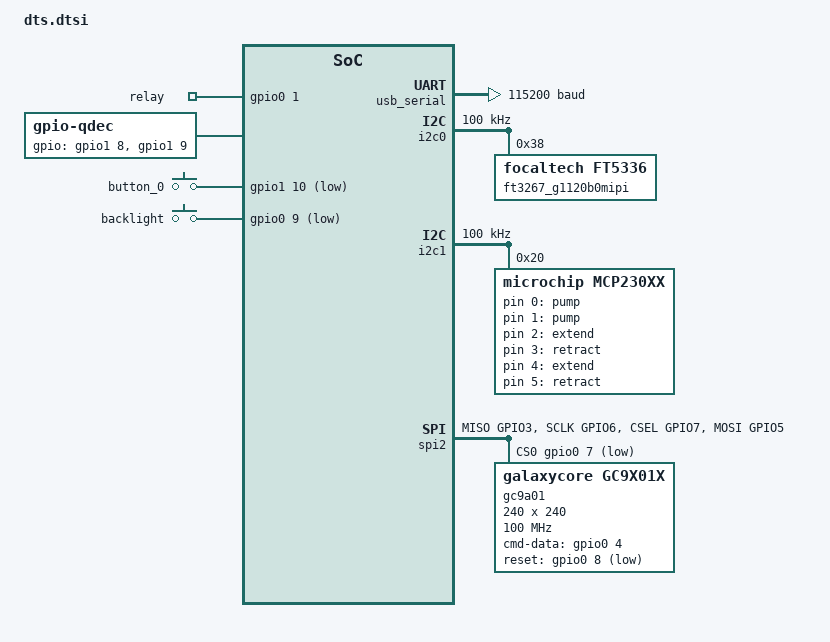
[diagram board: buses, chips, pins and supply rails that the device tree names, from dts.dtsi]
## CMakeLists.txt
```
# SPDX-License-Identifier: Apache-2.0

cmake_minimum_required(VERSION 3.20.0)
find_package(Zephyr REQUIRED HINTS $ENV{ZEPHYR_BASE})
project(blinky)

target_sources(app PRIVATE src/main.c src/ui.c src/dispense.c)
```

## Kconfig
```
#module = MAIN
#module-str = main
#source "subsys/logging/Kconfig.template.log_config"
menu "Zephyr"
rsource "$ZEPHYR_BASE/Kconfig.zephyr"
endmenu

module = APP
module-str = app
source "subsys/logging/Kconfig.template.log_config"
```

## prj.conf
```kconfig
CONFIG_GPIO=y
CONFIG_SMF=y
CONFIG_APP_LOG_LEVEL_DBG=y
CONFIG_CONSOLE=y
CONFIG_LOG=y
#CONFIG_UART_CONSOLE=y
CONFIG_INPUT_GPIO_QDEC=y
CONFIG_SERIAL=y
CONFIG_LOG_BACKEND_UART=y
CONFIG_SENSOR=y
CONFIG_INPUT=y
CONFIG_SHELL=y
CONFIG_I2C_SHELL=y
CONFIG_I2C_LOG_LEVEL_DBG=y
#CONFIG_SHELL_LOG_LEVEL_DBG=n
#CONFIG_LV_Z_MEM_POOL_HEAP_LIB_C=y
CONFIG_LV_Z_MEM_POOL_SIZE=100000
#CONFIG_LV_MEM_SIZE_KILOB1TES=4
CONFIG_LV_Z_SHELL=y
CONFIG_EVENTS=y
CONFIG_DISPLAY=y
CONFIG_DISPLAY_LOG_LEVEL_ERR=y
CONFIG_GC9X01X=y
CONFIG_LVGL=y
CONFIG_LV_MEM_CUSTOM=y
CONFIG_LV_USE_LOG=y
CONFIG_LV_USE_LABEL=y
CONFIG_LV_USE_BTN=y
CONFIG_LV_USE_ARC=y
CONFIG_LV_USE_IMG=y
CONFIG_LV_USE_MONKEY=n
CONFIG_EXCEPTION_DEBUG=y
CONFIG_LV_FONT_MONTSERRAT_14=y
CONFIG_GPIO_M5STM32F0=y 
CONFIG_I2C_TCA954X_CHANNEL_INIT_PRIO=51
CONFIG_RESET=y
```

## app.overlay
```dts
#include "dts.dtsi"
```

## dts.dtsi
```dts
#include <zephyr/dt-bindings/pinctrl/esp-pinctrl-common.h>
#include <dt-bindings/pinctrl/esp32s3-pinctrl.h>
#include <zephyr/dt-bindings/pinctrl/esp32s3-gpio-sigmap.h>
#include <zephyr/dt-bindings/input/input-event-codes.h>

#include <zephyr/dt-bindings/display/panel.h>
#include <zephyr/dt-bindings/pwm/pwm.h>
#include <zephyr/dt-bindings/i2c/i2c.h>
/ {
  aliases {
    qdec0 = &qdec;
    mate-pump = &pump1;
    lime-pump = &pump2;
   ice-relay = &relay1;
   rum-extend= &actuator1_extend;
   rum-retract=&actuator1_retract;
   sugar-extend=&actuator2_extend;
   sugar-retract=&actuator2_retract;
	};
  chosen {
    zephyr,sram = &sram0;
    zephyr,console = &usb_serial;
    zephyr,shell-uart = &usb_serial;
    zephyr,flash = &flash0;
    zephyr,code-partition = &slot0_partition;
    zephyr,display = &gc9a01;
  };
  
	lvgl_pointer {
    status = "okay";
		compatible = "zephyr,lvgl-pointer-input";
		input = <&ft3267_g1120b0mipi>;
    swap-xy;
		//invert-y;
	};
  
  encoder {
    status = "okay";
    compatible = "zephyr,lvgl-encoder-input";
    rotation-input-code = <INPUT_REL_X>;
    button-input-code = <INPUT_KEY_0>;
  };
  outputs {
    status="okay";
		compatible = "gpio-leds";
    pump1: pump1 {
      label="pump";
      gpios = <&mcp230xx 0 (GPIO_ACTIVE_HIGH)>;
    };
    pump2: pump2 {
      label="pump";
      gpios = <&mcp230xx 1 (GPIO_ACTIVE_HIGH)>;
    };
   relay1: relay1 {
      label="relay";
      gpios = <&gpio0 1 (GPIO_ACTIVE_HIGH)>;
    };
   actuator1_extend: actuator1_extend {
      label="extend";
      gpios = <&mcp230xx 2 (GPIO_ACTIVE_HIGH)>;
    };
   actuator1_retract: actuator1_retract {
      label="retract";
      gpios = <&mcp230xx 3 (GPIO_ACTIVE_HIGH)>;
    };
   actuator2_extend: actuator2_extend {
      label="extend";
      gpios = <&mcp230xx 4 (GPIO_ACTIVE_HIGH)>;
    };
   actuator2_retract: actuator2_retract {
      label="retract";
      gpios = <&mcp230xx 5 (GPIO_ACTIVE_HIGH)>;
    };
  };

  qdec: qdec {
    status="okay";
    compatible = "gpio-qdec";
    gpios = <&gpio1 8 (GPIO_PULL_UP | GPIO_ACTIVE_HIGH)>,
                <&gpio1 9 (GPIO_PULL_UP | GPIO_ACTIVE_HIGH)>;
    steps-per-period = <4>;
    zephyr,axis = <INPUT_REL_X>;
    sample-time-us = <2000>;
    idle-timeout-ms = <200>;
  };

  buttons {
    compatible = "gpio-keys";
    button_0 {
      gpios = <&gpio1 10 (GPIO_PULL_UP | GPIO_ACTIVE_LOW)>;
      zephyr,code = <INPUT_KEY_0>;
    };
    backlight {
      gpios = <&gpio0 9 (GPIO_PULL_UP | GPIO_ACTIVE_LOW)>;
      zephyr,code = <INPUT_KEY_1>;
    };
  };
};

&usb_serial {
  current-speed = <115200>;
	status = "okay";
};
&i2c0 {
  status="okay";
  clock-frequency = <100000>;
	pinctrl-0 = <&i2c0_default>;
	pinctrl-names = "default";
 scl-timeout-us= <10>;
  ft3267_g1120b0mipi: ft3267@38 {
    status="okay";
		/*
		 * Note- the actual controller present on this IC is a FT3267,
		 * but the FT35336 driver in Zephyr supports this IC.
		 */
		compatible = "focaltech,ft5336";
		reg = <0x38>;
		//int-gpios = <&gpio0 14 GPIO_ACTIVE_LOW>;
	};
};

&i2c1 {
  status="okay";
  clock-frequency = <100000>;
	pinctrl-0 = <&i2c1_default>;
	pinctrl-names = "default";
  scl-timeout-us= <1000>;
       mcp230xx: mcp230xx@20 {
        status="okay";

				compatible = "microchip,mcp230xx";
				reg = <0x20>;
				gpio-controller;
				#gpio-cells = <2>;
				ngpios = <16>;
			};
      /*
	mux: tca9548a@70 {
		compatible = "ti,tca9548a";
		reg = <0x70>;
		status = "okay";
		#address-cells = <1>;
		#size-cells = <0>;

		ch0: mux_i2c@0 {
      status="okay";
			compatible = "ti,tca9546a-channel";
			reg = <0>;
			#address-cells = <1>;
			#size-cells = <0>;

      mcp230xx: mcp230xx@20 {
        status="okay";

				compatible = "microchip,mcp230xx";
				reg = <0x20>;
				gpio-controller;
				#gpio-cells = <2>;
				ngpios = <16>;
			};
		};
    
  };
*/
};
&spi2 {
	status = "okay";
	#address-cells = <1>;
	#size-cells = <0>;
	pinctrl-0 = <&spim2_default>;
	pinctrl-names = "default";
	cs-gpios = <&gpio0 7 GPIO_ACTIVE_LOW>;

	gc9a01: gc9a01@0 {
 		status = "okay";
		compatible = "galaxycore,gc9x01x";   
		reg = <0>;
		spi-max-frequency = <100000000>;
		cmd-data-gpios = <&gpio0 4 GPIO_ACTIVE_HIGH>;
		reset-gpios = <&gpio0 8 GPIO_ACTIVE_LOW>;

		pixel-format = <PANEL_PIXEL_FORMAT_RGB_888>;
		display-inversion;
		width = <240>;
		height = <240>;
	};
};

&pinctrl {
	ledc0_default: ledc0_default {
		group1 {
			pinmux = <LEDC_CH0_GPIO9>;
			output-enable;
		};
	};
	spim2_default: spim2_default {
		group1 {
			pinmux = <SPIM2_MISO_GPIO3>,
				 <SPIM2_SCLK_GPIO6>,
				 <SPIM2_CSEL_GPIO7>;
		};
		group2 {
			pinmux = <SPIM2_MOSI_GPIO5>;
			output-low;
		};
	};
 	i2c0_default: i2c0_default {
		group1 {
			pinmux = <I2C0_SDA_GPIO11>,
				 <I2C0_SCL_GPIO12>;
			//bias-pull-up;
      drive-open-drain;
			output-high;
		};
	}; 
	i2c1_default: i2c1_default {
		group1 {
			pinmux = <I2C1_SDA_GPIO13>,
				 <I2C1_SCL_GPIO15>;
			drive-open-drain;
			output-high;
		};
	};
};
```

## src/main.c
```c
/*
 * Copyright (c) 2018 Jan Van Winkel <jan.van_winkel@dxplore.eu>
 *
 * SPDX-License-Identifier: Apache-2.0
 */

#include "core/lv_obj.h"
#include <stdio.h>
#include <string.h>
#include <zephyr/device.h>
#include <zephyr/devicetree.h>
#include <zephyr/drivers/display.h>
#include <zephyr/drivers/gpio.h>
#include <zephyr/kernel.h>

#include <zephyr/input/input.h>
#define LOG_LEVEL CONFIG_LOG_DEFAULT_LEVEL
#include <zephyr/logging/log.h>
LOG_MODULE_REGISTER(app);

static uint32_t count = 1;

static void input_cb(struct input_event *evt) {
  // printf("Key press");

  // printf("code: %i, value: %i type: %i", evt->code, evt->value, evt->type);
}
```

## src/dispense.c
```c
#include "dispense.h"
#include "ui.h"
#include "zephyr/sys/util.h"
#include "zephyr/sys_clock.h"
#include <lvgl_input_device.h>
#include <stdio.h>
#include <zephyr/drivers/gpio.h>
#include <zephyr/kernel.h>
#include <zephyr/logging/log.h>
#include <zephyr/smf.h>

#define LOG_LEVEL CONFIG_LOG_DEFAULT_LEVEL

LOG_MODULE_REGISTER(dispense);
static const struct gpio_dt_spec mate_pump =
    GPIO_DT_SPEC_GET(DT_ALIAS(mate_pump), gpios);
static const struct gpio_dt_spec lime_pump =
    GPIO_DT_SPEC_GET(DT_ALIAS(lime_pump), gpios);

static const struct gpio_dt_spec ice_relay =
    GPIO_DT_SPEC_GET(DT_ALIAS(ice_relay), gpios);

static const struct gpio_dt_spec rum_extend =
    GPIO_DT_SPEC_GET(DT_ALIAS(rum_extend), gpios);

static const struct gpio_dt_spec rum_retract =
    GPIO_DT_SPEC_GET(DT_ALIAS(rum_retract), gpios);

static const struct gpio_dt_spec sugar_extend =
    GPIO_DT_SPEC_GET(DT_ALIAS(sugar_extend), gpios);

static const struct gpio_dt_spec sugar_retract =
    GPIO_DT_SPEC_GET(DT_ALIAS(sugar_retract), gpios);

struct s_object s_obj;

const struct smf_state machine_states[SIZEOF_STATES];

static void inital_entry(void *o) {
  struct s_object *s = (struct s_object *)o;

  // smf_set_state(SMF_CTX(&s_obj), &machine_states[]);
}

static void inital_run(void *o) {
  struct s_object *s = (struct s_object *)o;
  printk("Inital");
  smf_set_state(SMF_CTX(&s_obj), &machine_states[MENU]);
}

static void inital_exit(void *o) {
  struct s_object *s = (struct s_object *)o;

  // smf_set_state(SMF_CTX(&s_obj), &machine_states[]);
}
static void menu_entry(void *o) {

  printk("menu");
  struct s_object *s = (struct s_object *)o;
  set_display_home_screen();
  k_event_clear(&s->event, BIT(HOME_SCREEN_DISPENSE_BUTTON_PRESSED));
}
static void menu_run(void *o) {
  struct s_object *s = (struct s_object *)o;

  uint32_t events = k_event_wait(&s->event,
                                 BIT(HOME_SCREEN_DISPENSE_BUTTON_PRESSED) |
                                     BIT(HOME_SCREEN_FEED_LIME_BUTTON_PRESSED) |
                                     BIT(HOME_SCREEN_FEED_MATE_BUTTON_PRESSED) |
                                     BIT(HOME_SCREEN_FEED_RUM_BUTTON_PRESSED),
                                 false, K_NO_WAIT);
  if (events != 0) {
    k_event_clear(&s->event, events);
    LOG_ERR("got it");
    if ((events & BIT(HOME_SCREEN_DISPENSE_BUTTON_PRESSED)) != 0) {
      smf_set_state(SMF_CTX(&s_obj), &machine_states[DISPENSE_ACTIVE]);
    }
    if ((events & BIT(HOME_SCREEN_FEED_LIME_BUTTON_PRESSED)) != 0) {
      s_obj.data.feed_ingredient = LIME;
      smf_set_state(SMF_CTX(&s_obj), &machine_states[FEED]);
    }
    if ((events & BIT(HOME_SCREEN_FEED_MATE_BUTTON_PRESSED)) != 0) {
      s_obj.data.feed_ingredient = MATE;
      smf_set_state(SMF_CTX(&s_obj), &machine_states[FEED]);
    }
    if ((events & BIT(HOME_SCREEN_FEED_RUM_BUTTON_PRESSED)) != 0) {
      s_obj.data.feed_ingredient = RUM;
      smf_set_state(SMF_CTX(&s_obj), &machine_states[FEED]);
    }
  }
}
// START

static void start_run(void *o) { struct s_object *s = (struct s_object *)o; }

struct extend_retract_gpio {
  const struct gpio_dt_spec *extend_gpio;
  const struct gpio_dt_spec *retract_gpio;
};

union ingredient_data {
  const struct gpio_dt_spec *gpio;
  struct extend_retract_gpio extend_retract_gpio;
};

struct ingredient {
  char *name;
  void (*start)(union ingredient_data *);
  void (*stop)(union ingredient_data *);
  union ingredient_data data;
};

void ingredient_start_dispense_gpio(union ingredient_data *data) {
  gpio_pin_set_dt(data->gpio, 1);
}

void ingredient_stop_dispense_gpio(union ingredient_data *data) {
  gpio_pin_set_dt(data->gpio, 0);
}
void ingredient_dispense_extend_gpio(union ingredient_data *data) {

  gpio_pin_set_dt(data->extend_retract_gpio.retract_gpio, 0);
  gpio_pin_set_dt(data->extend_retract_gpio.extend_gpio, 1);
}

void ingredient_dispense_retract_gpio(union ingredient_data *data) {
  gpio_pin_set_dt(data->extend_retract_gpio.extend_gpio, 0);
  gpio_pin_set_dt(data->extend_retract_gpio.retract_gpio, 1);
}

void ingredient_dispense_retract_short_gpio(union ingredient_data *data) {
  gpio_pin_set_dt(data->extend_retract_gpio.extend_gpio, 0);
  gpio_pin_set_dt(data->extend_retract_gpio.retract_gpio, 1);
  k_sleep(K_MSEC(500));
  gpio_pin_set_dt(data->extend_retract_gpio.retract_gpio, 0);
}

struct ingredient ingredients[SIZEOF_INGREDIENTS] = {
    [RUM] =
        {
            .name = "rum",
            .start = &ingredient_dispense_retract_gpio,
            .stop = &ingredient_dispense_extend_gpio,
            .data = {.extend_retract_gpio = {.extend_gpio = &rum_extend,
                                             .retract_gpio = &rum_retract}},
        },
    [ICE] = {.name = "ice",
             .start = &ingredient_start_dispense_gpio,
             .stop = &ingredient_stop_dispense_gpio,
             .data = {.gpio = &ice_relay}},
    [MATE] = {.name = "mate",
              .start = &ingredient_start_dispense_gpio,
              .stop = &ingredient_stop_dispense_gpio,
              .data = {.gpio = &mate_pump}},
    [LIME] = {.name = "lime",
              .start = &ingredient_start_dispense_gpio,
              .stop = &ingredient_stop_dispense_gpio,
              .data = {.gpio = &lime_pump}},
    [SUGAR] = {
        .name = "sugar",
        .start = &ingredient_dispense_extend_gpio,
        .stop = &ingredient_dispense_retract_short_gpio,
        .data = {.extend_retract_gpio = {.extend_gpio = &sugar_extend,
                                         .retract_gpio = &sugar_retract}}}};
struct step {
  struct ingredient *ingredient;
  k_timeout_t time;
};
struct step steps[] = {
    {.ingredient = &ingredients[SUGAR], .time = K_MSEC(500)},
    {
        .ingredient = &ingredients[RUM],
        .time = K_SECONDS(10),
    },
    {.ingredient = &ingredients[ICE], .time = K_SECONDS(8)},
    {.ingredient = &ingredients[MATE], .time = K_SECONDS(6)},
    {.ingredient = &ingredients[LIME], .time = K_SECONDS(2)}};
bool dispense_running = 0;
int dispense_current_ingredient = 0;
static void dispense_entry(void *o) {

  struct s_object *s = (struct s_object *)o;
  dispense_running = 0;
  set_display_btn_screen(false);
  set_text_btn_screen_button("STOP");
  k_event_clear(&s->event, BIT(BTN_SCREEN_BUTTON_PRESSED));
  dispense_current_ingredient = 0;
}

static void dispense_stop_current() {
  if (dispense_running == 1 &&
      dispense_current_ingredient < sizeof(steps) / sizeof(steps[0])) {
    if (steps[dispense_current_ingredient].ingredient->stop != NULL) {
      steps[dispense_current_ingredient].ingredient->stop(
          &steps[dispense_current_ingredient].ingredient->data);
    }
    dispense_running = 0;
    dispense_current_ingredient++;
  }
}
K_TIMER_DEFINE(dispense_timer, NULL, NULL);

static void dispense_run(void *o) {
  struct s_object *s = (struct s_object *)o;
  uint32_t events =
      k_event_wait(&s->event, BIT(BTN_SCREEN_BUTTON_PRESSED), false, K_NO_WAIT);
  if (events != 0) {
    k_event_clear(&s->event, events);
    smf_set_state(SMF_CTX(&s_obj), &machine_states[DISPENSE_ERROR]);
    return;
  }
  if (dispense_running == 0) {
    if (dispense_current_ingredient < sizeof(steps) / sizeof(steps[0])) {
      dispense_running = 1;
      if (steps[dispense_current_ingredient].ingredient->start != NULL) {
        steps[dispense_current_ingredient].ingredient->start(
            &steps[dispense_current_ingredient].ingredient->data);
      }
      if (!K_TIMEOUT_EQ(steps[dispense_current_ingredient].time, K_NO_WAIT)) {
        k_timer_start(&dispense_timer, steps[dispense_current_ingredient].time,
                      K_NO_WAIT);
      } else {
        dispense_stop_current();
      }
    } else {
      LOG_ERR("DONE");
      smf_set_state(SMF_CTX(&s_obj), &machine_states[DISPENSE_DONE]);
      return;
    }
  } else {
    if (k_timer_status_get(&dispense_timer) > 0) {
      dispense_stop_current();
    }
  }
}

static void dispense_exit(void *o) { dispense_stop_current(); }

void dispense_done_entry(void *o) {
  struct s_object *s = (struct s_object *)o;
  set_display_btn_screen(false);
  k_event_clear(&s->event, BIT(BTN_SCREEN_BUTTON_PRESSED));
  set_text_btn_screen_button("Done");
  k_timer_start(&s->timer, K_SECONDS(5), K_NO_WAIT);
}
void dispense_done_run(void *o) {
  struct s_object *s = (struct s_object *)o;
  if (k_timer_status_get(&s->timer) > 0) {
    smf_set_state(SMF_CTX(&s_obj), &machine_states[MENU]);
  }
  char *stats = "Done (timeseconds)";
  sprintf(stats, "Done (%i)", k_timer_remaining_get(&s->timer) / 1000);
  set_text_btn_screen_button(stats);
}
void feed_entry(void *o) {
  set_display_btn_screen(true);
  printk("feed");
}
void feed_run(void *o) {

  struct s_object *s = (struct s_object *)o;
  uint32_t events = k_event_wait(&s->event,
                                 BIT(BTN_SCREEN_BUTTON_PRESSED) |
                                     BIT(BTN_SCREEN_BUTTON_RELEASED) |
                                     BIT(BTN_SCREEN_BACK_BUTTON_PRESSED),
                                 false, K_NO_WAIT);
  if (events != 0) {
    k_event_clear(&s->event, events);
    LOG_ERR("got it");
    if ((events & BIT(BTN_SCREEN_BUTTON_PRESSED)) != 0) {
      ingredients[s->data.feed_ingredient].start(
          &ingredients[s->data.feed_ingredient].data);
    }
    if ((events & BIT(BTN_SCREEN_BUTTON_RELEASED)) != 0) {

      ingredients[s->data.feed_ingredient].stop(
          &ingredients[s->data.feed_ingredient].data);
    }
    if ((events & BIT(BTN_SCREEN_BACK_BUTTON_PRESSED)) != 0) {
      smf_set_state(SMF_CTX(&s_obj), &machine_states[MENU]);
      return;
    }
  }
}
void feed_exit(void *o) {

  struct s_object *s = (struct s_object *)o;
  ingredients[s->data.feed_ingredient].stop(
      &ingredients[s->data.feed_ingredient].data);
}
const struct smf_state machine_states[] = {
    [INITAL] =
        SMF_CREATE_STATE(inital_entry, inital_run, inital_exit, NULL, NULL),
    [MENU] = SMF_CREATE_STATE(menu_entry, menu_run, NULL, NULL, NULL),
    [DISPENSE] = SMF_CREATE_STATE(NULL, NULL, NULL, NULL,
                                  &machine_states[DISPENSE_ACTIVE]),
    [DISPENSE_ACTIVE] =
        SMF_CREATE_STATE(dispense_entry, dispense_run, dispense_exit,
                         &machine_states[DISPENSE], NULL),
    [DISPENSE_DONE] = SMF_CREATE_STATE(dispense_done_entry, dispense_done_run,
                                       NULL, &machine_states[DISPENSE], NULL),
    [DISPENSE_ERROR] = SMF_CREATE_STATE(dispense_done_entry, dispense_done_run,
                                        NULL, &machine_states[DISPENSE], NULL),
    [FEED] = SMF_CREATE_STATE(feed_entry, feed_run, feed_exit, NULL, NULL)};
#define STACK_SIZE 500
#define PRIORITY 5

void dispense_thread_fn() {
  int32_t ret;
  ret = gpio_pin_configure_dt(&mate_pump, GPIO_OUTPUT_INACTIVE);
  ret = gpio_pin_configure_dt(&lime_pump, GPIO_OUTPUT_INACTIVE);

  ret = gpio_pin_configure_dt(&ice_relay, GPIO_OUTPUT_INACTIVE);

  ret = gpio_pin_configure_dt(&rum_extend, GPIO_OUTPUT_INACTIVE);
  ret = gpio_pin_configure_dt(&rum_retract, GPIO_OUTPUT_INACTIVE);
  ret = gpio_pin_configure_dt(&sugar_extend, GPIO_OUTPUT_INACTIVE);
  ret = gpio_pin_configure_dt(&sugar_retract, GPIO_OUTPUT_INACTIVE);
  ui_setup();
  smf_set_initial(SMF_CTX(&s_obj), &machine_states[INITAL]);
  k_event_init(&s_obj.event);
  k_timer_init(&s_obj.timer, NULL, NULL);
  while (1) {

    k_sleep(K_MSEC(15));
    lv_task_handler();
    ret = smf_run_state(SMF_CTX(&s_obj));
    if (ret) {
      break;
    }
  }
};

K_THREAD_DEFINE(dispense_thread_id, 4000, dispense_thread_fn, NULL, NULL, NULL,
                PRIORITY, 0, 0);
```

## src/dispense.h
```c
#pragma once
#include <zephyr/kernel.h>
#include <zephyr/smf.h>

enum DISPENSE_STATES {
  INITAL,
  MENU,
  FEED,
  DISPENSE,
  DISPENSE_ACTIVE,
  DISPENSE_DONE,
  DISPENSE_ERROR,
  ERROR,
  SIZEOF_STATES
};
enum DISPENSE_EVENTS {
  // HOME screen
  HOME_SCREEN_DISPENSE_BUTTON_PRESSED,
  HOME_SCREEN_FEED_LIME_BUTTON_PRESSED,
  HOME_SCREEN_FEED_MATE_BUTTON_PRESSED,
  HOME_SCREEN_FEED_RUM_BUTTON_PRESSED,
  // BTN SCREEN
  BTN_SCREEN_BUTTON_PRESSED,
  BTN_SCREEN_BUTTON_RELEASED,
  BTN_SCREEN_BACK_BUTTON_PRESSED,
  SIZEOF_EVENTS
};

union event_data {};

enum INGREDIENTS { RUM, ICE, MATE, LIME, SUGAR, SIZEOF_INGREDIENTS };
struct s_object {
  struct smf_ctx ctx;
  struct k_event event;
  union event_data event_data[SIZEOF_EVENTS];
  struct data {
    enum INGREDIENTS feed_ingredient;
  } data;
  struct k_timer timer;
};
```

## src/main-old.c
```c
/*
 * Copyright (c) 2012-2014 Wind River Systems, Inc.
 *
 * SPDX-License-Identifier: Apache-2.0
 */

#include "lv_api_map.h"
#include "misc/lv_area.h"
#include "widgets/lv_label.h"
#include <stdio.h>
#include <zephyr/kernel.h>

int maina(void) {
  while (1) {
    k_msleep(1000);
    printf("hello");
  }
  return 0;
}

#include <zephyr/device.h>
#include <zephyr/drivers/sensor.h>
#include <zephyr/input/input.h>
#include <zephyr/kernel.h>
#include <zephyr/logging/log.h>
#include <zephyr/sys/printk.h>

#include <zephyr/drivers/gpio.h>
static void input_cb(struct input_event *evt) {
  printf("Key press");

  printf("code: %i, value: %i type: %i", evt->code, evt->value, evt->type);
}

INPUT_CALLBACK_DEFINE(NULL, input_cb);

#include <stdio.h>
#include <string.h>
#include <zephyr/drivers/display.h>

#include <zephyr/device.h>
#include <zephyr/drivers/display.h>


static const struct gpio_dt_spec mate_pump =
    GPIO_DT_SPEC_GET(DT_ALIAS(mate_pump), gpios);
static const struct gpio_dt_spec lime_pump =
    GPIO_DT_SPEC_GET(DT_ALIAS(lime_pump), gpios);

static const struct gpio_dt_spec ice_relay =
    GPIO_DT_SPEC_GET(DT_ALIAS(ice_relay), gpios);

int main(void) {
  int32_t grey_scale_sleep;
  const struct device *display_dev;
  int ret;
  ret = gpio_pin_configure_dt(&mate_pump, GPIO_OUTPUT_INACTIVE);
  ret = gpio_pin_configure_dt(&lime_pump, GPIO_OUTPUT_INACTIVE);

  ret = gpio_pin_configure_dt(&ice_relay, GPIO_OUTPUT_INACTIVE);
  k_msleep(2000);
  display_dev =  DEVICE_DT_GET(DT_CHOSEN(zephyr_display));
  if (!device_is_ready(display_dev)) {
    printk("diasplay not ready");
    return 0;
  }
  printk("hello");
  lv_obj_t *hello_world_obj;
  hello_world_obj = lv_label_create(lv_scr_act());
  lv_label_set_text(hello_world_obj, "hello");
  lv_obj_align(hello_world_obj, LV_ALIGN_CENTER, 0, 0);
  lv_task_handler();
  display_blanking_off(display_dev);
  while (1) {
    lv_task_handler();
    k_sleep(K_SECONDS(1000));
  }
}
```

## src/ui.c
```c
#include "ui.h"
#include "core/lv_obj.h"
#include "dispense.h"
#include "zephyr/smf.h"
#include <lvgl_input_device.h>
#include <sys/_stdint.h>
#include <zephyr/kernel.h>
#define LOG_LEVEL CONFIG_LOG_DEFAULT_LEVEL
#include <zephyr/logging/log.h>

#include <stdlib.h>
#include <zephyr/drivers/display.h>
LOG_MODULE_REGISTER(ui);
K_SEM_DEFINE(ui_ready, 0, 1);
// INPUT_CALLBACK_DEFINE(NULL, input_cb);
static void scroll_event_cb(lv_event_t *e) {
  // return;
  lv_obj_t *cont = lv_event_get_target(e);

  lv_area_t cont_a;
  lv_obj_get_coords(cont, &cont_a);
  lv_coord_t cont_y_center = cont_a.y1 + lv_area_get_height(&cont_a) / 2;

  lv_coord_t r = lv_obj_get_height(cont) * 9 / 10;
  uint32_t i;
  uint32_t child_cnt = lv_obj_get_child_cnt(cont);
  for (i = 0; i < child_cnt; i++) {
    lv_obj_t *child = lv_obj_get_child(cont, i);
    lv_area_t child_a;
    lv_obj_get_coords(child, &child_a);

    lv_coord_t child_y_center = child_a.y1 + lv_area_get_height(&child_a) / 2;

    lv_coord_t diff_y = child_y_center - cont_y_center;
    diff_y = LV_ABS(diff_y);

    /*Get the x of diff_y on a circle.*/
    lv_coord_t x;
    /*If diff_y is out of the circle use the last point of the circle (the
     * radius)*/
    if (diff_y >= r) {
      x = r;
    } else {
      /*Use Pythagoras theorem to get x from radius and y*/
      uint32_t x_sqr = r * r - diff_y * diff_y;
      lv_sqrt_res_t res;
      lv_sqrt(x_sqr, &res, 0x8000); /*Use lvgl's built in sqrt root function*/
      x = r - res.i;
    }

    /*Translate the item by the calculated X coordinate*/
    lv_obj_set_style_translate_x(child, x, 0);

    /*Use some opacity with larger translations*/
    lv_opa_t opa = lv_map(x, 0, r, LV_OPA_TRANSP, LV_OPA_COVER);
    lv_obj_set_style_opa(child, LV_OPA_COVER - opa, 0);
  }
}

/**
 * Translate the object as they scroll
 */
lv_obj_t *lv_create_menu(lv_obj_t *parent) {
  lv_obj_t *cont = lv_obj_create(parent);
  lv_obj_set_size(cont, lv_pct(100), lv_pct(100));
  lv_obj_center(cont);
  lv_obj_set_flex_flow(cont, LV_FLEX_FLOW_COLUMN);
  lv_obj_set_flex_align(cont, LV_FLEX_ALIGN_CENTER, LV_FLEX_ALIGN_START,
                        LV_FLEX_ALIGN_CENTER);
  lv_obj_add_event_cb(cont, scroll_event_cb, LV_EVENT_SCROLL, NULL);
  lv_obj_set_scroll_dir(cont, LV_DIR_VER);
  lv_obj_set_scroll_snap_y(cont, LV_SCROLL_SNAP_CENTER);
  lv_obj_set_scrollbar_mode(cont, LV_SCROLLBAR_MODE_OFF);
  return cont;
}
void lv_init_menu(lv_obj_t *menu) {

  /*Update the buttons position manually for first*/
  lv_event_send(menu, LV_EVENT_SCROLL, NULL);

  /*Be sure the fist button is in the middle*/
  lv_obj_scroll_to_view(lv_obj_get_child(menu, 0), LV_ANIM_OFF);
}

extern struct s_object s_obj;

extern const struct smf_state machine_states[SIZEOF_STATES];
static void button_pressed_cb(lv_event_t *e) {

  enum DISPENSE_EVENTS *target =
      (enum DISPENSE_EVENTS *)lv_event_get_user_data(e);
  enum DISPENSE_EVENTS event = *target;
  k_event_set(&s_obj.event, BIT(event));
  // lv_obj_t **target = (lv_obj_t **)lv_event_get_user_data(e);
  // lv_scr_load(*target);
}
static uint32_t count = 1;

struct home_screen_buttons {
  enum DISPENSE_EVENTS event;
  char *title;
} home_screen_buttons[4] = {
    {.event = HOME_SCREEN_DISPENSE_BUTTON_PRESSED, .title = "START"},
    {.event = HOME_SCREEN_FEED_LIME_BUTTON_PRESSED, .title = "Feed Lime"},
    {.event = HOME_SCREEN_FEED_MATE_BUTTON_PRESSED, .title = "Feed Mate"},
    {.event = HOME_SCREEN_FEED_RUM_BUTTON_PRESSED, .title = "Feed Rum"}};

static enum DISPENSE_EVENTS btn_screen_button_pressed =
    BTN_SCREEN_BUTTON_PRESSED;
static enum DISPENSE_EVENTS btn_screen_back_button_pressed =
    BTN_SCREEN_BACK_BUTTON_PRESSED;
static enum DISPENSE_EVENTS btn_screen_button_released =
    BTN_SCREEN_BUTTON_RELEASED;

#include <zephyr/shell/shell.h>
int cmd_send_event(const struct shell *sh, size_t argc, char **argv) {
  int cnt;
  uint32_t value = atoi(argv[1]);
  LOG_ERR("sending event %i", value);
  k_event_set(&s_obj.event, BIT(value));
  return 0;
}
SHELL_COND_CMD_ARG_REGISTER(1, send_event, NULL, "SEND an event",
                            cmd_send_event, 2, 0);

lv_obj_t *home_screen;
void set_display_home_screen() { lv_scr_load(home_screen); }

lv_obj_t *btn_screen_back_btn;
void show_btn_screen_back_button() {
  lv_obj_clear_flag(btn_screen_back_btn, LV_OBJ_FLAG_HIDDEN);
}
void hide_btn_screen_back_button() {
  lv_obj_add_flag(btn_screen_back_btn, LV_OBJ_FLAG_HIDDEN);
}
lv_obj_t *btn_screen;
void set_display_btn_screen(bool back_button) {
  lv_scr_load(btn_screen);
  if (back_button) {
    show_btn_screen_back_button();
  } else {
    hide_btn_screen_back_button();
  }
}
lv_obj_t *btn_screen_btn_label;
void set_text_btn_screen_button(char *text) {
  lv_label_set_text(btn_screen_btn_label, text);
}

int ui_setup(void) {
  const struct device *display_dev;
  display_dev = DEVICE_DT_GET(DT_CHOSEN(zephyr_display));
  if (!device_is_ready(display_dev)) {
    LOG_ERR("Device not ready, aborting test");
    return 0;
  }

  const struct device *lvgl_encoder =
      DEVICE_DT_GET_ANY(zephyr_lvgl_encoder_input);
  if (!device_is_ready(lvgl_encoder)) {
    LOG_ERR("encoder not ready");
  }

  home_screen = lv_obj_create(NULL);
  lv_obj_t *menu = lv_create_menu(home_screen);
  for (int i = 0;
       i < sizeof(home_screen_buttons) / sizeof(home_screen_buttons[0]); i++) {
    // lv_obj_t *item = lv_obj_create(menu);

    // lv_obj_set_size(item, lv_pct(100), lv_pct(80));
    lv_obj_t *btn = lv_obj_create(menu);
    lv_obj_set_style_bg_color(btn, lv_palette_lighten(LV_PALETTE_BLUE, 1), 0);
    lv_obj_set_style_radius(btn, LV_RADIUS_CIRCLE, 0);
    lv_obj_set_size(btn, lv_pct(75), lv_pct(75));

    lv_obj_add_event_cb(btn, button_pressed_cb, LV_EVENT_LONG_PRESSED,
                        &home_screen_buttons[i].event);
    lv_obj_t *label = lv_label_create(btn);
    lv_label_set_text(label, home_screen_buttons[i].title);

    lv_obj_align(label, LV_ALIGN_CENTER, 0, 0);
    lv_obj_align(btn, LV_ALIGN_CENTER, 0, 0);
  }
  lv_init_menu(menu);

  btn_screen = lv_obj_create(NULL);

  lv_obj_t *btn_screen_btns = lv_obj_create(btn_screen);

  lv_obj_t *btn_screen_btn = lv_btn_create(btn_screen_btns);
  lv_obj_add_event_cb(btn_screen_btn, button_pressed_cb, LV_EVENT_PRESSED,
                      &btn_screen_button_pressed);
  lv_obj_add_event_cb(btn_screen_btn, button_pressed_cb, LV_EVENT_RELEASED,
                      &btn_screen_button_released);
  btn_screen_btn_label = lv_label_create(btn_screen_btn);
  lv_label_set_text(btn_screen_btn_label, "Hello world!");

  // lv_obj_align(btn_screen_btn, LV_ALIGN_TOP_MID, 0, 0);
  btn_screen_back_btn = lv_btn_create(btn_screen_btns);
  lv_obj_add_event_cb(btn_screen_back_btn, button_pressed_cb, LV_EVENT_PRESSED,
                      &btn_screen_back_button_pressed);
  lv_obj_t *btn_screen_back_btn_label = lv_label_create(btn_screen_back_btn);
  lv_label_set_text(btn_screen_back_btn_label, "BACK");

  // lv_obj_align(btn_screen_back_btn, LV_ALIGN_BOTTOM_MID, 0, 0);
  lv_obj_align(btn_screen_btns, LV_ALIGN_CENTER, 0, 0);
  // arc = lv_arc_create(lv_scr_act());
  // lv_obj_align(arc, LV_ALIGN_CENTER, 0, 0);
  // lv_obj_set_size(arc, 200, 200);
  //
  // arc_group = lv_group_create();
  // lv_group_add_obj(arc_group, arc);
  // lv_indev_set_group(lvgl_input_get_indev(lvgl_encoder), arc_group);
  //
  // lv_example_scroll_6();

  display_blanking_off(display_dev);
}

// K_THREAD_DEFINE(my_tid, 4000, ui_setup, NULL, NULL, NULL, 15, 0, 0);
```

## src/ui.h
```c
#pragma once
#include <lvgl.h>

int ui_setup();

void set_display_home_screen();

void set_display_btn_screen(bool back_button);
void set_text_btn_screen_button(char *text);
```
